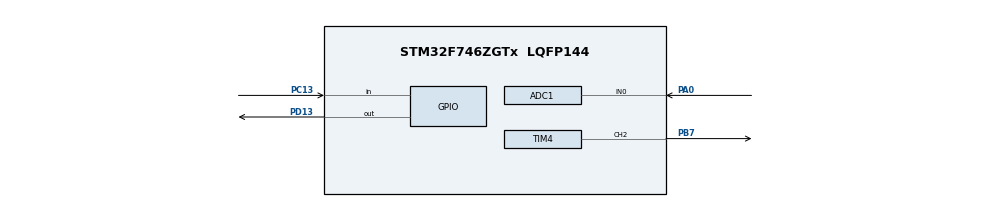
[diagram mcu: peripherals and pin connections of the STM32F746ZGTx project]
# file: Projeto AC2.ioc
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ADC1.Channel-0\#ChannelRegularConversion=ADC_CHANNEL_0
ADC1.NbrOfConversionFlag=1
ADC1.Rank-0\#ChannelRegularConversion=1
ADC1.SamplingTime-0\#ChannelRegularConversion=ADC_SAMPLETIME_3CYCLES
ADC1.master=1
Mcu.Family=STM32F7
Mcu.Name=STM32F746ZGTx
Mcu.Package=LQFP144
NVIC.PriorityGroup=NVIC_PRIORITYGROUP_4
NVIC.TIM4_IRQn=true\:0\:0\:false\:false\:true\:true\:true
PA0/WKUP.Signal=ADCx_IN0
PB7.Signal=S_TIM4_CH2
PC13.Signal=GPIO_Input
PD13.Signal=GPIO_Output
ProjectManager.HeapSize=0x200
ProjectManager.StackSize=0x400
ProjectManager.TargetToolchain=STM32CubeIDE
RCC.HSE_VALUE=25000000
RCC.HSI_VALUE=16000000
RCC.LSE_VALUE=32768
RCC.USBFreq_Value=96000000
RCC.VCOOutputFreq_Value=192000000
SH.ADCx_IN0.0=ADC1_IN0,IN0
SH.S_TIM4_CH2.0=TIM4_CH2,PWM Generation2 CH2
TIM4.Channel-PWM\ Generation2\ CH2=TIM_CHANNEL_2
TIM4.Period=999
TIM4.Prescaler=15
VP_TIM4_VS_ClockSourceINT.Mode=Internal
board=custom

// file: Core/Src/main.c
/* USER CODE BEGIN Header */
/**
  ******************************************************************************
  * @file           : main.c
  * @brief          : Main program body
  ******************************************************************************
  * @attention
  *
  * <h2><center>&copy; Copyright (c) 2021 STMicroelectronics.
  * All rights reserved.</center></h2>
  *
  * This software component is licensed by ST under BSD 3-Clause license,
  * the "License"; You may not use this file except in compliance with the
  * License. You may obtain a copy of the License at:
  *                        opensource.org/licenses/BSD-3-Clause
  *
  ******************************************************************************
  */
/* USER CODE END Header */
#include "main.h"

ADC_HandleTypeDef hadc1;

TIM_HandleTypeDef htim4;

void SystemClock_Config(void);
static void MX_GPIO_Init(void);
static void MX_ADC1_Init(void);
static void MX_TIM4_Init(void);

int main(void)
{

  /* MCU Configuration--------------------------------------------------------*/

  /* Reset of all peripherals, Initializes the Flash interface and the Systick. */
  HAL_Init();

  /* Configure the system clock */
  SystemClock_Config();

  /* Initialize all configured peripherals */
  MX_GPIO_Init();
  MX_ADC1_Init();
  MX_TIM4_Init();

  /* Infinite loop */
  /* USER CODE BEGIN WHILE */

	HAL_TIM_PWM_Start(&htim4, TIM_CHANNEL_2);
	__HAL_TIM_SetCompare(&htim, TIM_CHANNEL_2, 0);
	uint16_t duty = 0;
	float soma = 0;
	int contador = 0;

  while (1)
  {

	  HAL_ADC_Start(&hadc);
	  HAL_ADC_PollForConversion(&hadc,100);
	  int canal = HAL_ADC_GetValue(&hadc);

	  float I=canal*(3/4095);

	  soma+=I;
	  contador++;

	  if (contador>=10){
		  contador=0;

		  if(HAL_GPIO_ReadPin(GPIOC, GPIO_PIN13))		//verifica se chave está ativada
				{
					if((soma/10)>2){					//Verifica se o valor da media da corrente é o dobro da corrente nominal do motor (2*1A)
						if(duty > 0) duty--;			//Diminui gradativamente a alimentação do motor através de PWM caso a media da corrente seja o dobro da nominal
							}
					else{
						if(duty < 1000) duty++;			//Aumenta gradativamente a alimentação do motor atravé de PWM quando chave ativada e corrente menor que o dobro da nominal
						}
				}
		  else
				{
					duty=0;								//Caso chave estiver desativada, motor será desligado
				}

				__HAL_TIM_SetCompare(&htim4, TIM_CHANNEL_2, duty);

	  }

	}

    /* USER CODE END WHILE */

  }
}

void SystemClock_Config(void)
{
  RCC_OscInitTypeDef RCC_OscInitStruct = {0};
  RCC_ClkInitTypeDef RCC_ClkInitStruct = {0};

  /** Configure the main internal regulator output voltage
  */
  __HAL_RCC_PWR_CLK_ENABLE();
  __HAL_PWR_VOLTAGESCALING_CONFIG(PWR_REGULATOR_VOLTAGE_SCALE3);
  /** Initializes the RCC Oscillators according to the specified parameters
  * in the RCC_OscInitTypeDef structure.
  */
  RCC_OscInitStruct.OscillatorType = RCC_OSCILLATORTYPE_HSI;
  RCC_OscInitStruct.HSIState = RCC_HSI_ON;
  RCC_OscInitStruct.HSICalibrationValue = RCC_HSICALIBRATION_DEFAULT;
  RCC_OscInitStruct.PLL.PLLState = RCC_PLL_NONE;
  if (HAL_RCC_OscConfig(&RCC_OscInitStruct) != HAL_OK)
  {
    Error_Handler();
  }
  /** Initializes the CPU, AHB and APB buses clocks
  */
  RCC_ClkInitStruct.ClockType = RCC_CLOCKTYPE_HCLK|RCC_CLOCKTYPE_SYSCLK
                              |RCC_CLOCKTYPE_PCLK1|RCC_CLOCKTYPE_PCLK2;
  RCC_ClkInitStruct.SYSCLKSource = RCC_SYSCLKSOURCE_HSI;
  RCC_ClkInitStruct.AHBCLKDivider = RCC_SYSCLK_DIV1;
  RCC_ClkInitStruct.APB1CLKDivider = RCC_HCLK_DIV1;
  RCC_ClkInitStruct.APB2CLKDivider = RCC_HCLK_DIV1;

  if (HAL_RCC_ClockConfig(&RCC_ClkInitStruct, FLASH_LATENCY_0) != HAL_OK)
  {
    Error_Handler();
  }
}

static void MX_ADC1_Init(void)
{

  ADC_ChannelConfTypeDef sConfig = {0};

  /** Configure the global features of the ADC (Clock, Resolution, Data Alignment and number of conversion)
  */
  hadc1.Instance = ADC1;
  hadc1.Init.ClockPrescaler = ADC_CLOCK_SYNC_PCLK_DIV2;
  hadc1.Init.Resolution = ADC_RESOLUTION_12B;
  hadc1.Init.ScanConvMode = ADC_SCAN_DISABLE;
  hadc1.Init.ContinuousConvMode = DISABLE;
  hadc1.Init.DiscontinuousConvMode = DISABLE;
  hadc1.Init.ExternalTrigConvEdge = ADC_EXTERNALTRIGCONVEDGE_NONE;
  hadc1.Init.ExternalTrigConv = ADC_SOFTWARE_START;
  hadc1.Init.DataAlign = ADC_DATAALIGN_RIGHT;
  hadc1.Init.NbrOfConversion = 1;
  hadc1.Init.DMAContinuousRequests = DISABLE;
  hadc1.Init.EOCSelection = ADC_EOC_SINGLE_CONV;
  if (HAL_ADC_Init(&hadc1) != HAL_OK)
  {
    Error_Handler();
  }
  /** Configure for the selected ADC regular channel its corresponding rank in the sequencer and its sample time.
  */
  sConfig.Channel = ADC_CHANNEL_0;
  sConfig.Rank = ADC_REGULAR_RANK_1;
  sConfig.SamplingTime = ADC_SAMPLETIME_3CYCLES;
  if (HAL_ADC_ConfigChannel(&hadc1, &sConfig) != HAL_OK)
  {
    Error_Handler();
  }

}

static void MX_TIM4_Init(void)
{

  TIM_ClockConfigTypeDef sClockSourceConfig = {0};
  TIM_MasterConfigTypeDef sMasterConfig = {0};
  TIM_OC_InitTypeDef sConfigOC = {0};

  htim4.Instance = TIM4;
  htim4.Init.Prescaler = 15;
  htim4.Init.CounterMode = TIM_COUNTERMODE_UP;
  htim4.Init.Period = 999;
  htim4.Init.ClockDivision = TIM_CLOCKDIVISION_DIV1;
  htim4.Init.AutoReloadPreload = TIM_AUTORELOAD_PRELOAD_DISABLE;
  if (HAL_TIM_Base_Init(&htim4) != HAL_OK)
  {
    Error_Handler();
  }
  sClockSourceConfig.ClockSource = TIM_CLOCKSOURCE_INTERNAL;
  if (HAL_TIM_ConfigClockSource(&htim4, &sClockSourceConfig) != HAL_OK)
  {
    Error_Handler();
  }
  if (HAL_TIM_PWM_Init(&htim4) != HAL_OK)
  {
    Error_Handler();
  }
  sMasterConfig.MasterOutputTrigger = TIM_TRGO_RESET;
  sMasterConfig.MasterSlaveMode = TIM_MASTERSLAVEMODE_DISABLE;
  if (HAL_TIMEx_MasterConfigSynchronization(&htim4, &sMasterConfig) != HAL_OK)
  {
    Error_Handler();
  }
  sConfigOC.OCMode = TIM_OCMODE_PWM1;
  sConfigOC.Pulse = 0;
  sConfigOC.OCPolarity = TIM_OCPOLARITY_HIGH;
  sConfigOC.OCFastMode = TIM_OCFAST_DISABLE;
  if (HAL_TIM_PWM_ConfigChannel(&htim4, &sConfigOC, TIM_CHANNEL_2) != HAL_OK)
  {
    Error_Handler();
  }
  HAL_TIM_MspPostInit(&htim4);

}

static void MX_GPIO_Init(void)
{
  GPIO_InitTypeDef GPIO_InitStruct = {0};

  /* GPIO Ports Clock Enable */
  __HAL_RCC_GPIOC_CLK_ENABLE();
  __HAL_RCC_GPIOA_CLK_ENABLE();
  __HAL_RCC_GPIOD_CLK_ENABLE();
  __HAL_RCC_GPIOB_CLK_ENABLE();

  /*Configure GPIO pin Output Level */
  HAL_GPIO_WritePin(GPIOD, GPIO_PIN_13, GPIO_PIN_RESET);

  /*Configure GPIO pin : PC13 */
  GPIO_InitStruct.Pin = GPIO_PIN_13;
  GPIO_InitStruct.Mode = GPIO_MODE_INPUT;
  GPIO_InitStruct.Pull = GPIO_NOPULL;
  HAL_GPIO_Init(GPIOC, &GPIO_InitStruct);

  /*Configure GPIO pin : PD13 */
  GPIO_InitStruct.Pin = GPIO_PIN_13;
  GPIO_InitStruct.Mode = GPIO_MODE_OUTPUT_PP;
  GPIO_InitStruct.Pull = GPIO_NOPULL;
  GPIO_InitStruct.Speed = GPIO_SPEED_FREQ_LOW;
  HAL_GPIO_Init(GPIOD, &GPIO_InitStruct);

}

void Error_Handler(void)
{
  __disable_irq();
  while (1)
  {
  }
}

/************************ (C) COPYRIGHT STMicroelectronics *****END OF FILE****/
